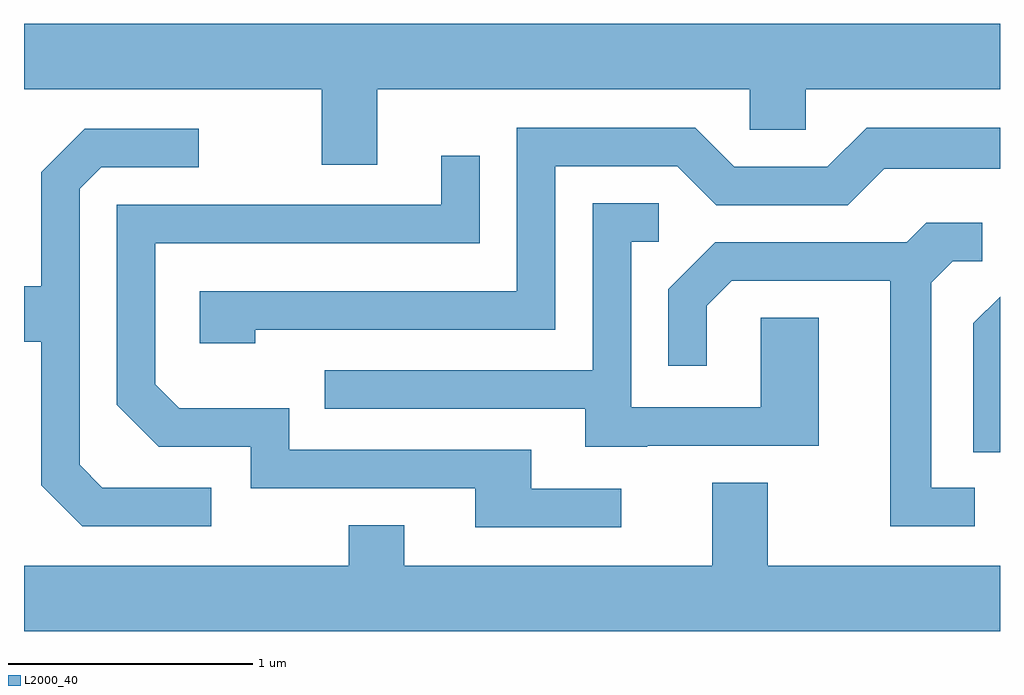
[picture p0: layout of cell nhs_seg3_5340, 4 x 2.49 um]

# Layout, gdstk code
import gdstk
lib = gdstk.Library(unit=1e-6, precision=1e-09)
def P(c, l, *ps):  # polygons
    for p in ps: c.add(gdstk.Polygon(p, *l))
L2000_40 = (2000, 40)

nhs_seg3_5340 = lib.new_cell('nhs_seg3_5340')
P(nhs_seg3_5340, L2000_40, [(343.059,1199.276),(344.586,1199.276),(344.586,1199.111),(344.814,1199.111),(344.814,1199.276),(345.611,1199.276),(345.611,1199.544),(341.611,1199.544),(341.611,1199.276),(342.831,1199.276),(342.831,1198.966),(343.059,1198.966)],
  [(342.559,1198.291),(343.789,1198.291),(343.789,1198.961),(344.289,1198.961),(344.449,1198.801),(344.987,1198.801),(345.137,1198.951),(345.611,1198.951),(345.611,1199.119),(345.064,1199.119),(344.904,1198.959),(344.522,1198.959),(344.362,1199.119),(343.631,1199.119),(343.631,1198.449),(342.331,1198.449),(342.331,1198.236),(342.559,1198.236)],
  [(342.378,1197.644),(341.932,1197.644),(341.839,1197.737),(341.839,1198.869),(341.927,1198.956),(342.328,1198.956),(342.328,1199.114),(341.859,1199.114),(341.681,1198.937),(341.681,1198.469),(341.611,1198.469),(341.611,1198.241),(341.681,1198.241),(341.681,1197.654),(341.849,1197.486),(342.378,1197.486)],
  [(344.058,1197.639),(343.689,1197.639),(343.689,1197.799),(342.699,1197.799),(342.699,1197.969),(342.247,1197.969),(342.149,1198.067),(342.149,1198.646),(343.479,1198.646),(343.479,1199.003),(343.321,1199.003),(343.321,1198.804),(341.991,1198.804),(341.991,1197.984),(342.164,1197.811),(342.541,1197.811),(342.541,1197.641),(343.461,1197.641),(343.461,1197.481),(344.058,1197.481)],
  [(344.165,1197.816),(344.869,1197.816),(344.869,1198.339),(344.631,1198.339),(344.631,1197.974),(344.099,1197.974),(344.099,1198.651),(344.213,1198.651),(344.213,1198.809),(343.941,1198.809),(343.941,1198.124),(342.843,1198.124),(342.843,1197.966),(343.911,1197.966),(343.911,1197.811),(344.165,1197.811)],
  [(345.508,1197.644),(345.329,1197.644),(345.329,1198.484),(345.417,1198.571),(345.538,1198.571),(345.538,1198.729),(345.309,1198.729),(345.229,1198.649),(344.444,1198.649),(344.251,1198.457),(344.251,1198.143),(344.409,1198.143),(344.409,1198.389),(344.512,1198.491),(345.161,1198.491),(345.161,1197.486),(345.508,1197.486)],
  [(345.611,1198.427),(345.501,1198.317),(345.501,1197.788),(345.611,1197.788)],
  [(345.611,1197.324),(344.659,1197.324),(344.659,1197.664),(344.431,1197.664),(344.431,1197.324),(343.169,1197.324),(343.169,1197.489),(342.941,1197.489),(342.941,1197.324),(341.611,1197.324),(341.611,1197.056),(345.611,1197.056)])

lib.write_gds('nhs_seg3_5340.gds')
